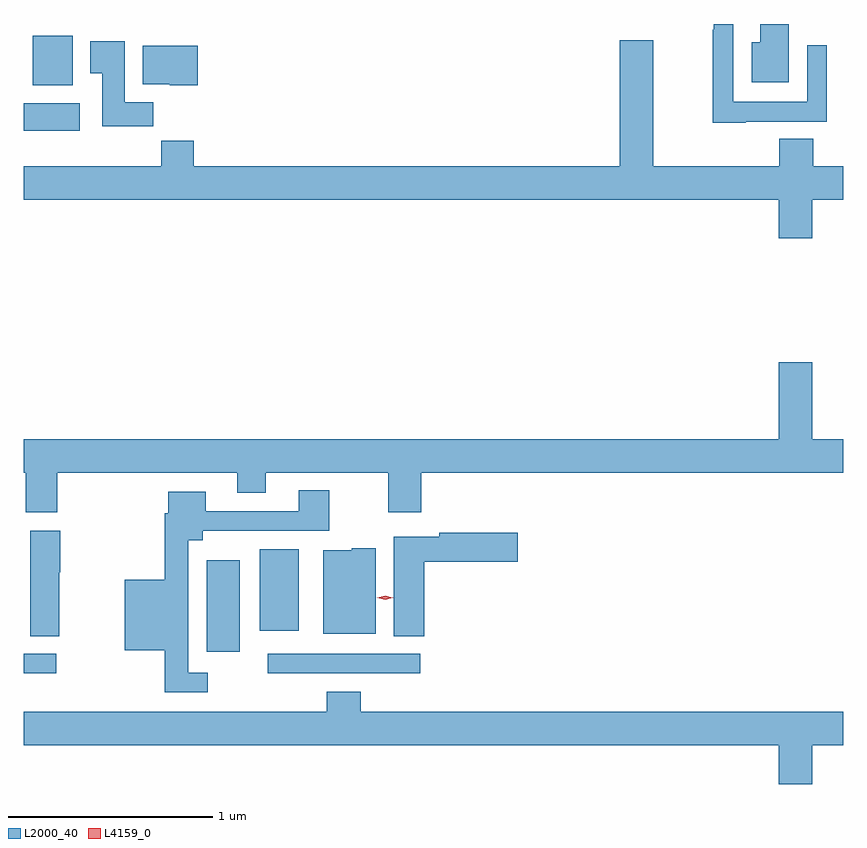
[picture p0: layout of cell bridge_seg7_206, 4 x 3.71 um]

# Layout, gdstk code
import gdstk
lib = gdstk.Library(unit=1e-6, precision=1e-09)
def R(c, l, rs):  # rectangles x0, y0, x1, y1
    for r in rs: c.add(gdstk.rectangle(r[:2], r[2:], *l))
def P(c, l, *ps):  # polygons
    for p in ps: c.add(gdstk.Polygon(p, *l))
L2000_40 = (2000, 40)
L4159_0 = (4159, 0)

bridge_seg7_206 = lib.new_cell('bridge_seg7_206')
R(bridge_seg7_206, L2000_40, [(233.251,1019.616,233.41,1019.712), (234.441,1019.616,235.186,1019.712), (234.143,1019.721,234.304,1020.169), (234.404,1019.825,234.592,1020.223), (233.251,1022.264,233.524,1022.398), (233.294,1022.486,233.491,1022.728)])
P(bridge_seg7_206, L2000_40, [(236.775,1022.31),(237.171,1022.31),(237.171,1022.683),(237.075,1022.683),(237.075,1022.406),(236.715,1022.406),(236.715,1022.786),(236.619,1022.786),(236.619,1022.759),(236.614,1022.759),(236.614,1022.303),(236.775,1022.303)],
  [(236.986,1022.786),(236.846,1022.786),(236.846,1022.698),(236.804,1022.698),(236.804,1022.501),(236.986,1022.501)],
  [(237.1,1021.928),(237.251,1021.928),(237.251,1022.092),(237.104,1022.092),(237.104,1022.225),(236.939,1022.225),(236.939,1022.092),(236.323,1022.092),(236.323,1022.707),(236.159,1022.707),(236.159,1022.092),(234.08,1022.092),(234.08,1022.216),(233.923,1022.216),(233.923,1022.092),(233.251,1022.092),(233.251,1021.928),(236.936,1021.928),(236.936,1021.74),(237.1,1021.74)],
  [(233.882,1022.404),(233.743,1022.404),(233.743,1022.701),(233.576,1022.701),(233.576,1022.545),(233.633,1022.545),(233.633,1022.286),(233.882,1022.286)],
  [(234.1,1022.68),(233.831,1022.68),(233.831,1022.492),(233.964,1022.492),(233.964,1022.486),(234.1,1022.486)],
  [(233.414,1020.596),(234.293,1020.596),(234.293,1020.497),(234.433,1020.497),(234.433,1020.596),(235.03,1020.596),(235.03,1020.402),(235.19,1020.402),(235.19,1020.596),(237.251,1020.596),(237.251,1020.76),(237.1,1020.76),(237.1,1021.135),(236.936,1021.135),(236.936,1020.76),(233.251,1020.76),(233.251,1020.596),(233.261,1020.596),(233.261,1020.402),(233.414,1020.402)],
  [(234.148,1019.619),(234.055,1019.619),(234.055,1019.969),(234.054,1019.969),(234.054,1020.266),(234.124,1020.266),(234.124,1020.312),(234.741,1020.312),(234.741,1020.511),(234.593,1020.511),(234.593,1020.408),(234.139,1020.408),(234.139,1020.502),(233.957,1020.502),(233.957,1020.398),(233.938,1020.398),(233.938,1020.073),(233.744,1020.073),(233.744,1019.729),(233.938,1019.729),(233.938,1019.523),(234.148,1019.523)],
  [(233.424,1020.109),(233.429,1020.109),(233.429,1020.313),(233.282,1020.313),(233.282,1019.797),(233.424,1019.797)],
  [(235.205,1020.161),(235.663,1020.161),(235.663,1020.303),(235.278,1020.303),(235.278,1020.283),(235.058,1020.283),(235.058,1019.797),(235.205,1019.797)],
  [(234.97,1020.226),(234.852,1020.226),(234.852,1020.217),(234.713,1020.217),(234.713,1019.81),(234.97,1019.81)],
  [(237.1,1019.264),(237.251,1019.264),(237.251,1019.428),(234.896,1019.428),(234.896,1019.527),(234.731,1019.527),(234.731,1019.428),(233.251,1019.428),(233.251,1019.264),(236.936,1019.264),(236.936,1019.076),(237.1,1019.076)])
P(bridge_seg7_206, L4159_0, [(235.015,1019.975),(234.977,1019.985),(234.977,1019.985),(234.977,1019.985),(235.015,1019.995),(235.053,1019.985),(235.054,1019.985),(235.053,1019.985)])

lib.write_gds('bridge_seg7_206.gds')
